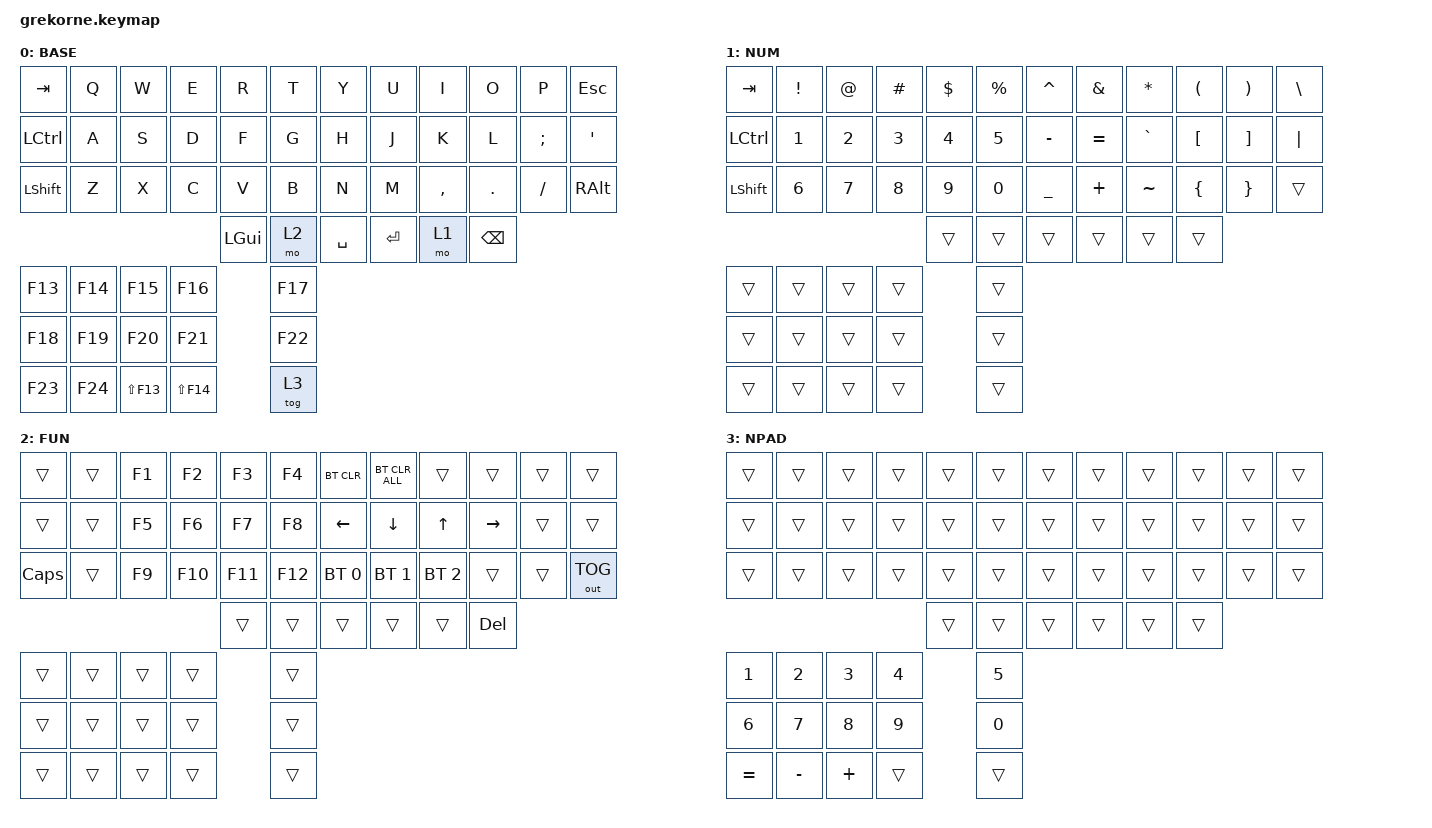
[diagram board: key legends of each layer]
/*
 * Copyright (c) 2020 The ZMK Contributors
 *
 * SPDX-License-Identifier: MIT
 */

#include <behaviors.dtsi>
#include <dt-bindings/zmk/keys.h>
#include <dt-bindings/zmk/bt.h>
#include <dt-bindings/zmk/pointing.h>
#include <dt-bindings/zmk/outputs.h>

&sensors {
    triggers-per-rotation = <20>;
};

/ {

    keymap {
        compatible = "zmk,keymap"; 

        BASE {
            display-name = "BASE";
// ------------------------------------------------------------------------------------------------
// | TAB |  Q |  W |  E |  R |  T |   |  Y |  U |  I |  O |  P | ESC |
// |CTRL |  A |  S |  D |  F |  G |   |  H |  J |  K |  L |  ; |  '  |
// |SHFT |  Z |  X |  C |  V |  B |   |  N |  M |  , |  . |  / |ALT |
//                | GUI | L2 | SPC |   | ENT | L1 | BSPC |
            bindings = <
&kp TAB     &kp Q  &kp W  &kp E     &kp R  &kp T        &kp Y    &kp U  &kp I          &kp O    &kp P     &kp ESC
&kp LCTRL   &kp A  &kp S  &kp D     &kp F  &kp G        &kp H    &kp J  &kp K          &kp L    &kp SEMI  &kp SQT
&kp LSHFT   &kp Z  &kp X  &kp C     &kp V  &kp B        &kp N    &kp M  &kp COMMA      &kp DOT  &kp FSLH  &kp RALT
                                &kp LGUI  &mo 2  &kp SPACE    &kp RET  &mo 1  &kp BSPC

&kp F13  &kp F14  &kp F15     &kp F16      &kp F17
&kp F18  &kp F19  &kp F20     &kp F21      &kp F22
&kp F23  &kp F24  &kp LS(F13) &kp LS(F14)  &tog 3
            >;
        };

        NUM {
            display-name = "NUM";
// ------------------------------------------------------------------------------------------------
// symbols / numbers
            bindings = <
&kp TAB           &kp EXCL  &kp AT  &kp HASH     &kp DLLR  &kp PRCNT        &kp CARET       &kp AMPS    &kp ASTRK   &kp LPAR  &kp RPAR  &kp BSLH
&kp LCTRL         &kp N1    &kp N2  &kp N3       &kp N4    &kp N5           &kp MINUS       &kp EQUAL   &kp GRAVE   &kp LBKT  &kp RBKT  &kp PIPE
&kp LSHFT         &kp N6    &kp N7  &kp N8       &kp N9    &kp N0           &kp UNDER       &kp PLUS    &kp TILDE   &kp LBRC  &kp RBRC  &trans
                                    &trans       &trans    &trans           &trans          &trans      &trans

&trans  &trans  &trans  &trans  &trans
&trans  &trans  &trans  &trans  &trans
&trans  &trans  &trans  &trans  &trans
            >;
        };

        FUN {
            display-name = "FUN";
// ------------------------------------------------------------------------------------------------
// function keys + mouse
            bindings = <
&trans        &trans  &kp F1  &kp F2   &kp F3   &kp F4      &bt BT_CLR    &bt BT_CLR_ALL  &trans        &trans     &trans  &trans
&trans        &trans  &kp F5  &kp F6   &kp F7   &kp F8      &kp LEFT      &kp DOWN        &kp UP        &kp RIGHT  &trans  &trans
&kp CAPSLOCK  &trans  &kp F9  &kp F10  &kp F11  &kp F12     &bt BT_SEL 0  &bt BT_SEL 1    &bt BT_SEL 2  &trans     &trans  &out OUT_TOG
                              &trans   &trans   &trans      &trans        &trans          &kp DELETE

&trans  &trans  &trans  &trans  &trans
&trans  &trans  &trans  &trans  &trans
&trans  &trans  &trans  &trans  &trans
            >;
        };

        NPAD {
          display-name = "NPAD";
// =================================================================================================
// numpad / macropad
          bindings = <
&trans  &trans  &trans  &trans  &trans  &trans     &trans  &trans  &trans  &trans  &trans  &trans
&trans  &trans  &trans  &trans  &trans  &trans     &trans  &trans  &trans  &trans  &trans  &trans
&trans  &trans  &trans  &trans  &trans  &trans     &trans  &trans  &trans  &trans  &trans  &trans
                        &trans  &trans  &trans     &trans  &trans  &trans

&kp N1     &kp N2     &kp N3    &kp N4  &kp N5
&kp N6     &kp N7     &kp N8    &kp N9  &kp N0
&kp EQUAL  &kp MINUS  &kp PLUS  &trans  &trans
          >;
        };
    };
};
